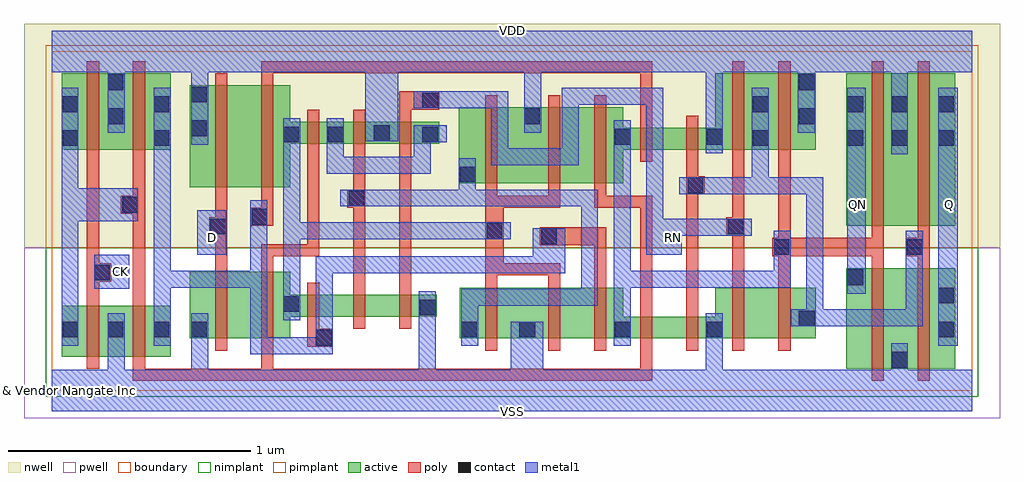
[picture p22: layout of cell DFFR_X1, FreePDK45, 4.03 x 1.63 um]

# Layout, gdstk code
import gdstk
lib = gdstk.Library(unit=1e-6, precision=1e-09)
def R(c, l, rs):  # rectangles x0, y0, x1, y1
    for r in rs: c.add(gdstk.rectangle(r[:2], r[2:], *l))
def P(c, l, *ps):  # polygons
    for p in ps: c.add(gdstk.Polygon(p, *l))
active = (1, 0)
pwell = (2, 0)
nwell = (3, 0)
nimplant = (4, 0)
pimplant = (5, 0)
poly = (9, 0)
contact = (10, 0)
metal1 = (11, 0)
boundary = (235, 0)

dffr_x1 = lib.new_cell('DFFR_X1')
R(dffr_x1, active, [(3.28,0.09,3.73,0.505), (0.04,0.14,0.49,0.35), (3.28,0.68,3.73,1.31), (0.04,0.995,0.49,1.31)])
P(dffr_x1, active, [(0.57,0.215),(0.985,0.215),(0.985,0.305),(1.59,0.305),(1.59,0.395),(0.985,0.395),(0.985,0.49),(0.57,0.49)],
  [(0.57,0.84),(0.985,0.84),(0.985,1.02),(1.6,1.02),(1.6,1.11),(0.985,1.11),(0.985,1.26),(0.57,1.26)],
  [(1.685,0.215),(3.155,0.215),(3.155,0.425),(2.74,0.425),(2.74,0.305),(2.36,0.305),(2.36,0.425),(1.685,0.425)],
  [(1.68,0.855),(2.36,0.855),(2.36,0.995),(3.155,0.995),(3.155,1.31),(2.74,1.31),(2.74,1.085),(2.36,1.085),(2.36,1.17),(1.68,1.17)])
R(dffr_x1, pwell, [(-0.115,-0.115,3.915,0.59)])
R(dffr_x1, nwell, [(-0.115,0.59,3.915,1.515)])
R(dffr_x1, nimplant, [(-0.025,-0.025,3.825,0.59)])
R(dffr_x1, pimplant, [(-0.025,0.59,3.825,1.425)])
P(dffr_x1, poly, [(0.145,0.09),(0.195,0.09),(0.195,0.45),(0.245,0.45),(0.245,0.525),(0.195,0.525),(0.195,1.36),(0.145,1.36)],
  [(0.65,0.64),(0.675,0.64),(0.675,0.165),(0.725,0.165),(0.725,1.31),(0.675,1.31),(0.675,0.715),(0.65,0.715)],
  [(1.055,0.18),(1.16,0.18),(1.16,0.255),(1.105,0.255),(1.105,0.445),(1.055,0.445)],
  [(1.22,0.755),(1.245,0.755),(1.245,0.255),(1.295,0.255),(1.295,1.16),(1.245,1.16),(1.245,0.83),(1.22,0.83)],
  [(1.435,0.255),(1.485,0.255),(1.485,1.16),(1.6,1.16),(1.6,1.235),(1.435,1.235)],
  [(1.865,0.755),(2.1,0.755),(2.1,1.22),(2.05,1.22),(2.05,0.805),(1.84,0.805),(1.84,1.22),(1.79,1.22),(1.79,0.165),(1.84,0.165),(1.84,0.475),(2.05,0.475),(2.05,0.165),(2.1,0.165),(2.1,0.525),(1.865,0.525)],
  [(2.015,0.6),(2.24,0.6),(2.24,0.165),(2.29,0.165),(2.29,0.675),(2.015,0.675)],
  [(2.24,0.755),(2.43,0.755),(2.43,0.09),(0.915,0.09),(0.915,0.555),(1.105,0.555),(1.105,1.16),(1.055,1.16),(1.055,0.605),(0.865,0.605),(0.865,0.09),(0.385,0.09),(0.385,1.36),(0.335,1.36),(0.335,0.805),(0.285,0.805),(0.285,0.73),(0.335,0.73),(0.335,0.04),(2.48,0.04),(2.48,0.805),(2.29,0.805),(2.29,1.22),(2.24,1.22)],
  [(0.82,0.68),(0.915,0.68),(0.915,1.31),(2.43,1.31),(2.43,0.945),(2.48,0.945),(2.48,1.36),(0.865,1.36),(0.865,0.755),(0.82,0.755)],
  [(2.62,0.165),(2.67,0.165),(2.67,0.81),(2.695,0.81),(2.695,0.885),(2.67,0.885),(2.67,1.135),(2.62,1.135)],
  [(2.785,0.64),(2.81,0.64),(2.81,0.165),(2.86,0.165),(2.86,1.36),(2.81,1.36),(2.81,0.715),(2.785,0.715)],
  [(2.975,0.555),(3,0.555),(3,0.165),(3.05,0.165),(3.05,0.555),(3.385,0.555),(3.385,0.04),(3.435,0.04),(3.435,1.36),(3.385,1.36),(3.385,0.63),(3.05,0.63),(3.05,1.36),(3,1.36),(3,0.63),(2.975,0.63)],
  [(3.525,0.555),(3.575,0.555),(3.575,0.04),(3.625,0.04),(3.625,1.36),(3.575,1.36),(3.575,0.63),(3.525,0.63)])
R(dffr_x1, contact, [(3.47,0.095,3.535,0.16), (1.09,0.185,1.155,0.25), (0.045,0.22,0.11,0.285), (0.23,0.22,0.295,0.285), (0.42,0.22,0.485,0.285), (0.575,0.22,0.64,0.285), (1.69,0.22,1.755,0.285), (1.93,0.22,1.995,0.285), (2.325,0.22,2.39,0.285), (2.705,0.22,2.77,0.285), (3.66,0.22,3.725,0.285), (3.085,0.265,3.15,0.33), (1.52,0.31,1.585,0.375), (0.955,0.325,1.02,0.39), (3.66,0.36,3.725,0.425), (3.285,0.435,3.35,0.5), (0.175,0.455,0.24,0.52), (2.98,0.56,3.045,0.625), (3.53,0.56,3.595,0.625), (2.02,0.605,2.085,0.67), (1.795,0.625,1.86,0.69), (0.655,0.645,0.72,0.71), (2.79,0.645,2.855,0.71), (0.825,0.685,0.89,0.75), (0.29,0.735,0.355,0.8), (1.225,0.76,1.29,0.825), (2.625,0.815,2.69,0.88), (1.685,0.86,1.75,0.925), (0.045,1.01,0.11,1.075), (0.42,1.01,0.485,1.075), (2.895,1.01,2.96,1.075), (3.285,1.01,3.35,1.075), (3.47,1.01,3.535,1.075), (3.66,1.01,3.725,1.075), (2.325,1.015,2.39,1.08), (2.705,1.015,2.77,1.08), (0.955,1.025,1.02,1.09), (1.14,1.025,1.205,1.09), (1.53,1.025,1.595,1.09), (1.33,1.03,1.395,1.095), (0.575,1.05,0.64,1.115), (0.23,1.1,0.295,1.165), (1.95,1.1,2.015,1.165), (3.085,1.1,3.15,1.165), (0.045,1.15,0.11,1.215), (0.42,1.15,0.485,1.215), (2.895,1.15,2.96,1.215), (3.285,1.15,3.35,1.215), (3.47,1.15,3.535,1.215), (3.66,1.15,3.725,1.215), (1.53,1.165,1.595,1.23), (0.575,1.19,0.64,1.255), (0.23,1.24,0.295,1.305), (3.085,1.24,3.15,1.305)])
R(dffr_x1, metal1, [(3.66,0.185,3.74,1.25), (3.285,0.4,3.36,1.25), (0.175,0.42,0.32,0.56), (0.6,0.56,0.72,0.745)])
P(dffr_x1, metal1, [(0.04,0.185),(0.11,0.185),(0.11,0.7),(0.355,0.7),(0.355,0.835),(0.11,0.835),(0.11,1.25),(0.04,1.25)],
  [(1.135,0.895),(1.565,0.895),(1.565,1.025),(1.63,1.025),(1.63,1.095),(1.495,1.095),(1.495,0.965),(1.205,0.965),(1.205,1.125),(1.135,1.125)],
  [(0.955,0.29),(1.025,0.29),(1.025,0.625),(1.895,0.625),(1.895,0.695),(1.025,0.695),(1.025,1.125),(0.955,1.125)],
  [(0.42,0.185),(0.49,0.185),(0.49,0.425),(0.82,0.425),(0.82,0.15),(1.16,0.15),(1.16,0.485),(2.12,0.485),(2.12,0.67),(1.985,0.67),(1.985,0.555),(1.09,0.555),(1.09,0.22),(0.89,0.22),(0.89,0.785),(0.82,0.785),(0.82,0.495),(0.49,0.495),(0.49,1.25),(0.42,1.25)],
  [(1.19,0.76),(2.185,0.76),(2.185,0.42),(1.69,0.42),(1.69,0.185),(1.76,0.185),(1.76,0.35),(2.255,0.35),(2.255,0.83),(1.75,0.83),(1.75,0.96),(1.68,0.96),(1.68,0.83),(1.19,0.83)],
  [(1.495,1.165),(1.815,1.165),(1.815,0.93),(2.175,0.93),(2.175,1.18),(2.455,1.18),(2.455,0.56),(2.6,0.56),(2.6,0.64),(2.89,0.64),(2.89,0.71),(2.525,0.71),(2.525,1.25),(2.105,1.25),(2.105,1),(1.885,1),(1.885,1.235),(1.495,1.235)],
  [(2.32,0.185),(2.39,0.185),(2.39,0.425),(3.05,0.425),(3.05,0.66),(2.98,0.66),(2.98,0.495),(2.39,0.495),(2.39,1.115),(2.32,1.115)],
  [(2.59,0.81),(3.115,0.81),(3.115,0.335),(3.05,0.335),(3.05,0.265),(3.595,0.265),(3.595,0.66),(3.525,0.66),(3.525,0.335),(3.185,0.335),(3.185,0.88),(2.96,0.88),(2.96,1.25),(2.89,1.25),(2.89,0.88),(2.59,0.88)],
  [(0,-0.085),(3.8,-0.085),(3.8,0.085),(3.535,0.085),(3.535,0.195),(3.465,0.195),(3.465,0.085),(2.77,0.085),(2.77,0.32),(2.7,0.32),(2.7,0.085),(2.03,0.085),(2.03,0.285),(1.895,0.285),(1.895,0.085),(1.585,0.085),(1.585,0.41),(1.515,0.41),(1.515,0.085),(0.645,0.085),(0.645,0.32),(0.575,0.32),(0.575,0.085),(0.3,0.085),(0.3,0.32),(0.23,0.32),(0.23,0.085),(0,0.085)],
  [(0,1.315),(0.23,1.315),(0.23,1.065),(0.3,1.065),(0.3,1.315),(0.575,1.315),(0.575,1.015),(0.645,1.015),(0.645,1.315),(1.295,1.315),(1.295,1.03),(1.43,1.03),(1.43,1.315),(1.95,1.315),(1.95,1.065),(2.02,1.065),(2.02,1.315),(2.7,1.315),(2.7,0.98),(2.77,0.98),(2.77,1.315),(3.08,1.315),(3.08,1.065),(3.15,1.065),(3.15,1.315),(3.465,1.315),(3.465,0.975),(3.535,0.975),(3.535,1.315),(3.8,1.315),(3.8,1.485),(0,1.485)])
R(dffr_x1, boundary, [(0,0,3.8,1.4)])
dffr_x1.add(gdstk.Label('CK', (0.285,0.49), layer=11, texttype=0))
dffr_x1.add(gdstk.Label('D', (0.665,0.63), layer=11, texttype=0))
dffr_x1.add(gdstk.Label('Q', (3.705,0.77), layer=11, texttype=0))
dffr_x1.add(gdstk.Label('QN', (3.325,0.77), layer=11, texttype=0))
dffr_x1.add(gdstk.Label('RN', (2.565,0.63), layer=11, texttype=0))
dffr_x1.add(gdstk.Label('VDD', (1.9,1.485), layer=11, texttype=0))
dffr_x1.add(gdstk.Label('VSS', (1.9,-0.085), layer=11, texttype=0))
dffr_x1.add(gdstk.Label('& Vendor Nangate Inc', (0,0), layer=63, texttype=63))
dffr_x1.add(gdstk.Label('& Product Open Cell Library', (0,0), layer=63, texttype=63))
dffr_x1.add(gdstk.Label('& Version 2010_12', (0,0), layer=63, texttype=63))
dffr_x1.add(gdstk.Label('& Instance DFFR_X1', (0,0), layer=63, texttype=63))

lib.write_gds('DFFR_X1.gds')
